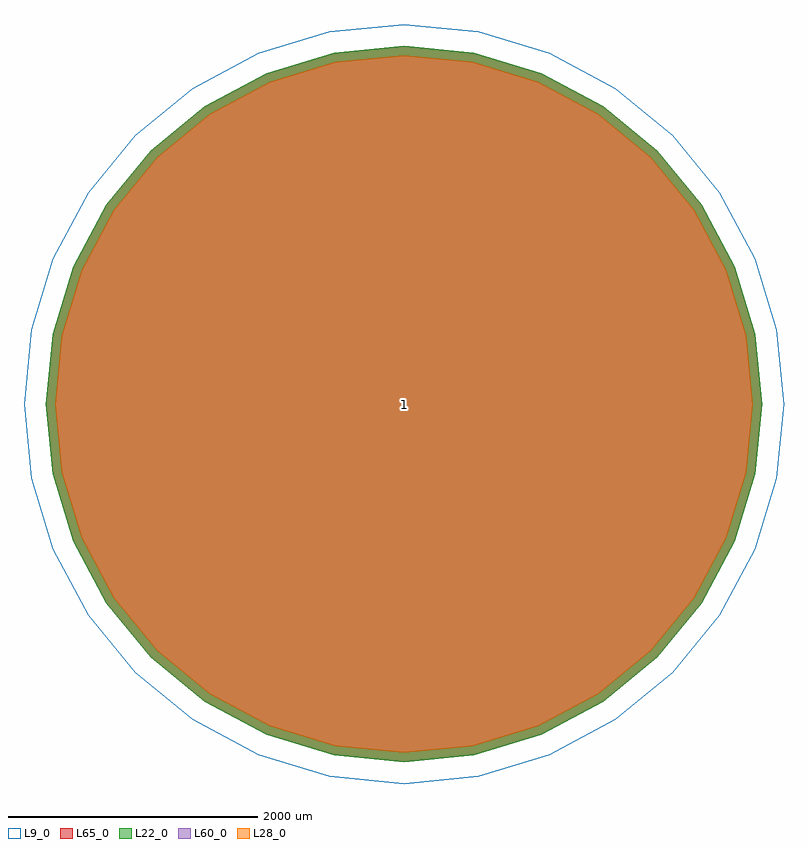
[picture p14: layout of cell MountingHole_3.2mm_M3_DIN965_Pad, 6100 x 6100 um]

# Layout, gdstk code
import gdstk
lib = gdstk.Library(unit=1e-6, precision=1e-09)
def P(c, l, *ps):  # polygons
    for p in ps: c.add(gdstk.Polygon(p, *l))
L9_0 = (9, 0)
L22_0 = (22, 0)
L28_0 = (28, 0)
L60_0 = (60, 0)
L65_0 = (65, 0)

mountinghole_3_2mm_m3_di = lib.new_cell('MountingHole_3.2mm_M3_DIN965_Pad')
P(mountinghole_3_2mm_m3_di, L9_0, [(3050,0),(2991.395,595.025),(2817.833,1167.184),(2535.982,1694.489),(2156.676,2156.676),(1694.489,2535.982),(1167.184,2817.833),(595.025,2991.395),(0,3050),(-595.025,2991.395),(-1167.184,2817.833),(-1694.489,2535.982),(-2156.676,2156.676),(-2535.982,1694.489),(-2817.833,1167.184),(-2991.395,595.025),(-3050,0),(-2991.395,-595.025),(-2817.833,-1167.184),(-2535.982,-1694.489),(-2156.676,-2156.676),(-1694.489,-2535.982),(-1167.184,-2817.833),(-595.025,-2991.395),(0,-3050),(595.025,-2991.395),(1167.184,-2817.833),(1694.489,-2535.982),(2156.676,-2156.676),(2535.982,-1694.489),(2817.833,-1167.184),(2991.395,-595.025)],
  [(2800,0),(2746.199,546.253),(2586.863,1071.514),(2328.115,1555.597),(1979.899,1979.899),(1555.597,2328.115),(1071.514,2586.863),(546.253,2746.199),(0,2800),(-546.253,2746.199),(-1071.514,2586.863),(-1555.597,2328.115),(-1979.899,1979.899),(-2328.115,1555.597),(-2586.863,1071.514),(-2746.199,546.253),(-2800,0),(-2746.199,-546.253),(-2586.863,-1071.514),(-2328.115,-1555.597),(-1979.899,-1979.899),(-1555.597,-2328.115),(-1071.514,-2586.863),(-546.253,-2746.199),(0,-2800),(546.253,-2746.199),(1071.514,-2586.863),(1555.597,-2328.115),(1979.899,-1979.899),(2328.115,-1555.597),(2586.863,-1071.514),(2746.199,-546.253)])
P(mountinghole_3_2mm_m3_di, L22_0, [(2875,0),(2819.758,560.885),(2656.154,1100.215),(2390.475,1597.264),(2032.932,2032.932),(1597.264,2390.475),(1100.215,2656.154),(560.885,2819.758),(0,2875),(-560.885,2819.758),(-1100.215,2656.154),(-1597.264,2390.475),(-2032.932,2032.932),(-2390.475,1597.264),(-2656.154,1100.215),(-2819.758,560.885),(-2875,0),(-2819.758,-560.885),(-2656.154,-1100.215),(-2390.475,-1597.264),(-2032.932,-2032.932),(-1597.264,-2390.475),(-1100.215,-2656.154),(-560.885,-2819.758),(0,-2875),(560.885,-2819.758),(1100.215,-2656.154),(1597.264,-2390.475),(2032.932,-2032.932),(2390.475,-1597.264),(2656.154,-1100.215),(2819.758,-560.885)])
P(mountinghole_3_2mm_m3_di, L28_0, [(2800,0),(2746.199,546.253),(2586.863,1071.514),(2328.115,1555.597),(1979.899,1979.899),(1555.597,2328.115),(1071.514,2586.863),(546.253,2746.199),(0,2800),(-546.253,2746.199),(-1071.514,2586.863),(-1555.597,2328.115),(-1979.899,1979.899),(-2328.115,1555.597),(-2586.863,1071.514),(-2746.199,546.253),(-2800,0),(-2746.199,-546.253),(-2586.863,-1071.514),(-2328.115,-1555.597),(-1979.899,-1979.899),(-1555.597,-2328.115),(-1071.514,-2586.863),(-546.253,-2746.199),(0,-2800),(546.253,-2746.199),(1071.514,-2586.863),(1555.597,-2328.115),(1979.899,-1979.899),(2328.115,-1555.597),(2586.863,-1071.514),(2746.199,-546.253)])
P(mountinghole_3_2mm_m3_di, L60_0, [(2800,0),(2746.199,546.253),(2586.863,1071.514),(2328.115,1555.597),(1979.899,1979.899),(1555.597,2328.115),(1071.514,2586.863),(546.253,2746.199),(0,2800),(-546.253,2746.199),(-1071.514,2586.863),(-1555.597,2328.115),(-1979.899,1979.899),(-2328.115,1555.597),(-2586.863,1071.514),(-2746.199,546.253),(-2800,0),(-2746.199,-546.253),(-2586.863,-1071.514),(-2328.115,-1555.597),(-1979.899,-1979.899),(-1555.597,-2328.115),(-1071.514,-2586.863),(-546.253,-2746.199),(0,-2800),(546.253,-2746.199),(1071.514,-2586.863),(1555.597,-2328.115),(1979.899,-1979.899),(2328.115,-1555.597),(2586.863,-1071.514),(2746.199,-546.253)])
P(mountinghole_3_2mm_m3_di, L65_0, [(2875,0),(2819.758,560.885),(2656.154,1100.215),(2390.475,1597.264),(2032.932,2032.932),(1597.264,2390.475),(1100.215,2656.154),(560.885,2819.758),(0,2875),(-560.885,2819.758),(-1100.215,2656.154),(-1597.264,2390.475),(-2032.932,2032.932),(-2390.475,1597.264),(-2656.154,1100.215),(-2819.758,560.885),(-2875,0),(-2819.758,-560.885),(-2656.154,-1100.215),(-2390.475,-1597.264),(-2032.932,-2032.932),(-1597.264,-2390.475),(-1100.215,-2656.154),(-560.885,-2819.758),(0,-2875),(560.885,-2819.758),(1100.215,-2656.154),(1597.264,-2390.475),(2032.932,-2032.932),(2390.475,-1597.264),(2656.154,-1100.215),(2819.758,-560.885)])
mountinghole_3_2mm_m3_di.add(gdstk.Label('1', (0,0), layer=28, texttype=0))
mountinghole_3_2mm_m3_di.add(gdstk.Label('type', (0,-3800), layer=9, texttype=0))
mountinghole_3_2mm_m3_di.add(gdstk.Label('devicename', (0,3800), layer=9, texttype=0))

lib.write_gds('MountingHole_3.2mm_M3_DIN965_Pad.gds')
